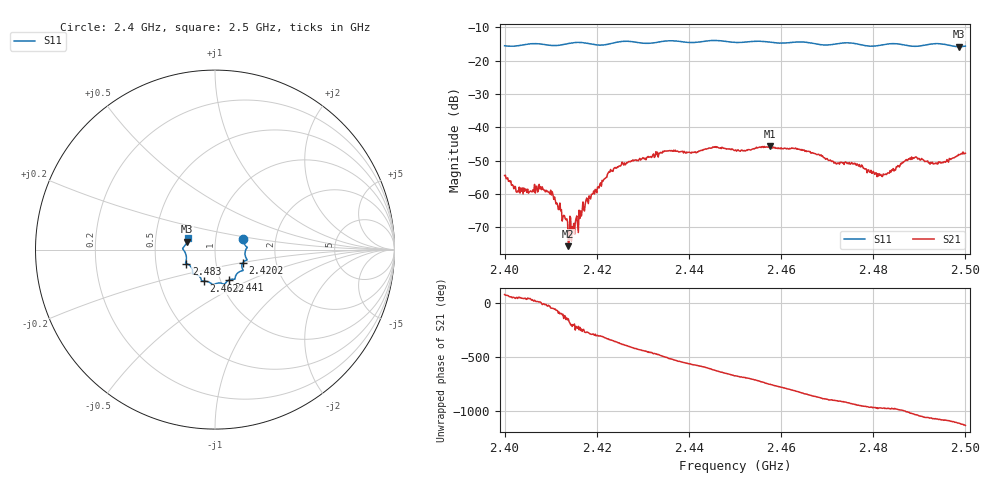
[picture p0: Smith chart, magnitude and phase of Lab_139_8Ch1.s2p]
# Hz S RI R 50
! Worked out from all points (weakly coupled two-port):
!   601 points, 2.4 GHz to 2.5 GHz, reference 50 ohm
!   highest |S21| = -45.69 dB at 2.4577 GHz (marker M1); lowest = -75.7 dB at 2.4138 GHz (marker M2)
!   lowest |S11| = -15.8 dB at 2.4987 GHz (marker M3), VSWR 1.39, Z = 36.4 + j3.33 ohm
!   |S11| at or under -10 dB: start of sweep to end of sweep
!   S12 and S22 are empty: the file has one direction only
!   S11 on the Smith chart (normalised r, x): 2.4 GHz: 1.36, +0.17; 2.4202 GHz: 1.35, -0.20; 2.441 GHz: 1.09, -0.39; 2.4622 GHz: 0.83, -0.30; 2.483 GHz: 0.72, -0.12; 2.5 GHz: 0.73, +0.09
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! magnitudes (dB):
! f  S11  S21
! 2.4 GHz  -15.5  -54.5
! 2.4028 GHz  -15.5  -59.1
! 2.408 GHz  -15.0  -58.7
! 2.41 GHz  -15.4  -58.9
! 2.4138 GHz  -14.9  -75.7
! 2.4143 GHz  -14.7  -67.1
! 2.415 GHz  -14.6  -68.9
! 2.4167 GHz  -14.6  -66.6
! 2.4202 GHz  -15.3  -58.0
! 2.4252 GHz  -14.3  -51.6
! 2.4333 GHz  -14.4  -48.9
! 2.441 GHz  -14.6  -47.5
! 2.45 GHz  -14.5  -47.0
! 2.4577 GHz  -14.5  -45.7
! 2.4622 GHz  -14.5  -46.4
! 2.4667 GHz  -14.7  -47.7
! 2.483 GHz  -15.0  -54.0
! 2.4833 GHz  -15.0  -53.7
! 2.4882 GHz  -15.6  -49.7
! 2.4935 GHz  -14.9  -50.7
! 2.4987 GHz  -15.8  -48.2
! 2.5 GHz  -15.6  -47.8
